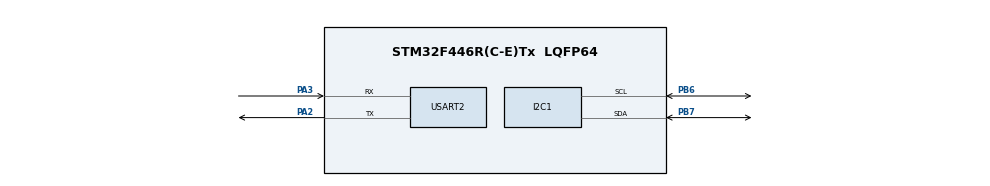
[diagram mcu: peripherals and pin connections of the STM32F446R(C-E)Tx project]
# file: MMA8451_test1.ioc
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I2C1.I2C_Mode=I2C_Fast
Mcu.Family=STM32F4
Mcu.Name=STM32F446R(C-E)Tx
Mcu.Package=LQFP64
NVIC.PriorityGroup=NVIC_PRIORITYGROUP_4
PA2.Mode=Asynchronous
PA2.Signal=USART2_TX
PA3.Mode=Asynchronous
PA3.Signal=USART2_RX
PB6.Mode=I2C
PB6.Signal=I2C1_SCL
PB7.Mode=I2C
PB7.Signal=I2C1_SDA
ProjectManager.HeapSize=0x200
ProjectManager.StackSize=0x400
ProjectManager.TargetToolchain=STM32CubeIDE
RCC.CortexFreq_Value=16000000
RCC.USBFreq_Value=96000000
RCC.VCOOutputFreq_Value=192000000
USART2.VirtualMode=VM_ASYNC
board=custom

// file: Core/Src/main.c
/* USER CODE BEGIN Header */
/**
  ******************************************************************************
  * @file           : main.c
  * @brief          : Main program body
  ******************************************************************************
  * @attention
  *
  * Copyright (c) 2025 STMicroelectronics.
  * All rights reserved.
  *
  * This software is licensed under terms that can be found in the LICENSE file
  * in the root directory of this software component.
  * If no LICENSE file comes with this software, it is provided AS-IS.
  *
  ******************************************************************************
  */
/* USER CODE END Header */
#include "main.h"
#include <math.h>

I2C_HandleTypeDef hi2c1;

UART_HandleTypeDef huart2;

/* USER CODE BEGIN PV */

//uint8_t who_am_i;
int16_t ax, ay, az;
float alpha = 0.9;
float est_ax = 0, est_ay = 0, est_az = 1000;

char msg[128];

float raw_pitch, raw_roll;
float pitch, roll;

/* USER CODE END PV */

void SystemClock_Config(void);
static void MX_GPIO_Init(void);
static void MX_I2C1_Init(void);
static void MX_USART2_UART_Init(void);

int main(void)
{

  /* MCU Configuration--------------------------------------------------------*/

  /* Reset of all peripherals, Initializes the Flash interface and the Systick. */
  HAL_Init();

  /* Configure the system clock */
  SystemClock_Config();

  /* Initialize all configured peripherals */
  MX_GPIO_Init();
  MX_I2C1_Init();
  MX_USART2_UART_Init();
  /* USER CODE BEGIN 2 */

  MMA845x_Init();

  /* USER CODE END 2 */

  /* Infinite loop */
  while (1)
  {

    /* USER CODE BEGIN 3 */
//	HAL_I2C_Mem_Read(&hi2c1, MMA845X_ADDR, 0x0D, 1, &who_am_i, 1, HAL_MAX_DELAY);
	MMA845x_ReadXYZ(&ax, &ay, &az);
	est_ax = alpha * est_ax + (1-alpha) * ax;
	est_ay = alpha * est_ay + (1-alpha) * ay;
	est_az = alpha * est_az + (1-alpha) * az;

	raw_pitch = atan2(-ax, sqrt(ay*ay + az*az));
	raw_roll = atan2(ay, az);

	pitch = atan2(-est_ax, sqrt(est_ay*est_ay + est_az*est_az));
	roll = atan2(est_ay, est_az);

	int len = sprintf(msg, "%d,%d,%d,%.6f,%.6f,%.6f,%.6f,%.6f,%.6f,%.6f\r\n", ax, ay, az, est_ax, est_ay, est_az,
			raw_pitch, raw_roll, pitch, roll);
	HAL_UART_Transmit(&huart2, (uint8_t*)msg, len, HAL_MAX_DELAY);

	HAL_Delay(200);

  }
  /* USER CODE END 3 */
}

void SystemClock_Config(void)
{
  RCC_OscInitTypeDef RCC_OscInitStruct = {0};
  RCC_ClkInitTypeDef RCC_ClkInitStruct = {0};

  /** Configure the main internal regulator output voltage
  */
  __HAL_RCC_PWR_CLK_ENABLE();
  __HAL_PWR_VOLTAGESCALING_CONFIG(PWR_REGULATOR_VOLTAGE_SCALE3);

  /** Initializes the RCC Oscillators according to the specified parameters
  * in the RCC_OscInitTypeDef structure.
  */
  RCC_OscInitStruct.OscillatorType = RCC_OSCILLATORTYPE_HSI;
  RCC_OscInitStruct.HSIState = RCC_HSI_ON;
  RCC_OscInitStruct.HSICalibrationValue = RCC_HSICALIBRATION_DEFAULT;
  RCC_OscInitStruct.PLL.PLLState = RCC_PLL_NONE;
  if (HAL_RCC_OscConfig(&RCC_OscInitStruct) != HAL_OK)
  {
    Error_Handler();
  }

  /** Initializes the CPU, AHB and APB buses clocks
  */
  RCC_ClkInitStruct.ClockType = RCC_CLOCKTYPE_HCLK|RCC_CLOCKTYPE_SYSCLK
                              |RCC_CLOCKTYPE_PCLK1|RCC_CLOCKTYPE_PCLK2;
  RCC_ClkInitStruct.SYSCLKSource = RCC_SYSCLKSOURCE_HSI;
  RCC_ClkInitStruct.AHBCLKDivider = RCC_SYSCLK_DIV1;
  RCC_ClkInitStruct.APB1CLKDivider = RCC_HCLK_DIV1;
  RCC_ClkInitStruct.APB2CLKDivider = RCC_HCLK_DIV1;

  if (HAL_RCC_ClockConfig(&RCC_ClkInitStruct, FLASH_LATENCY_0) != HAL_OK)
  {
    Error_Handler();
  }
}

static void MX_I2C1_Init(void)
{

  hi2c1.Instance = I2C1;
  hi2c1.Init.ClockSpeed = 400000;
  hi2c1.Init.DutyCycle = I2C_DUTYCYCLE_2;
  hi2c1.Init.OwnAddress1 = 0;
  hi2c1.Init.AddressingMode = I2C_ADDRESSINGMODE_7BIT;
  hi2c1.Init.DualAddressMode = I2C_DUALADDRESS_DISABLE;
  hi2c1.Init.OwnAddress2 = 0;
  hi2c1.Init.GeneralCallMode = I2C_GENERALCALL_DISABLE;
  hi2c1.Init.NoStretchMode = I2C_NOSTRETCH_DISABLE;
  if (HAL_I2C_Init(&hi2c1) != HAL_OK)
  {
    Error_Handler();
  }

}

static void MX_USART2_UART_Init(void)
{

  huart2.Instance = USART2;
  huart2.Init.BaudRate = 115200;
  huart2.Init.WordLength = UART_WORDLENGTH_8B;
  huart2.Init.StopBits = UART_STOPBITS_1;
  huart2.Init.Parity = UART_PARITY_NONE;
  huart2.Init.Mode = UART_MODE_TX_RX;
  huart2.Init.HwFlowCtl = UART_HWCONTROL_NONE;
  huart2.Init.OverSampling = UART_OVERSAMPLING_16;
  if (HAL_UART_Init(&huart2) != HAL_OK)
  {
    Error_Handler();
  }

}

static void MX_GPIO_Init(void)
{

  /* GPIO Ports Clock Enable */
  __HAL_RCC_GPIOA_CLK_ENABLE();
  __HAL_RCC_GPIOB_CLK_ENABLE();

}

void Error_Handler(void)
{
  __disable_irq();
  while (1)
  {
  }
}
